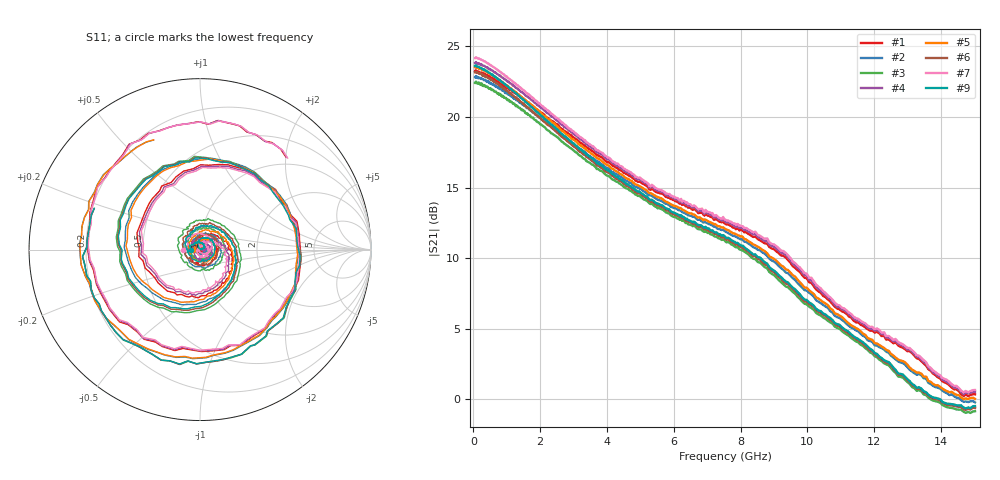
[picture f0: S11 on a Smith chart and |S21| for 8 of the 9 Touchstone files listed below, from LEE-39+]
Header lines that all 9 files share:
! Mini-Circuits
! S2P DATA File Format
! Type: MMIC Amplifier
! Model: LEE-39+
! 401 Frequency points
! S Parameters are in dB deg format
# MHz S DB R 50
!  FREQ  dB(S11)  PHS(S11)  dB(S21)  PHS(S21)  dB(S12)  PHS(S12)  dB(S22)  PHS(S22)
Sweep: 50 MHz to 15.02 GHz
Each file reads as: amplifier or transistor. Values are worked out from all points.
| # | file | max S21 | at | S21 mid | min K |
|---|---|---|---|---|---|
| 1 | LEE-39+___28mA___Minus45degC.S2P | 23.3 dB | 80 MHz | 16.0 dB at 4.57 GHz | 1.03 |
| 2 | LEE-39+___28mA___Plus25degC.S2P | 22.9 dB | 80 MHz | 15.5 dB at 4.57 GHz | 1.03 |
| 3 | LEE-39+___28mA___Plus85degC.S2P | 22.5 dB | 80 MHz | 14.9 dB at 4.57 GHz | 1.03 |
| 4 | LEE-39+___35mA___Minus45degC.S2P | 23.9 dB | 80 MHz | 16.1 dB at 4.57 GHz | 1.02 |
| 5 | LEE-39+___35mA___Plus25degC.S2P | 23.5 dB | 80 MHz | 15.7 dB at 4.57 GHz | 1.02 |
| 6 | LEE-39+___35mA___Plus85degC.S2P | 23.2 dB | 65 MHz | 15.1 dB at 4.57 GHz | 1.03 |
| 7 | LEE-39+___42mA___Minus45degC.S2P | 24.2 dB | 80 MHz | 16.2 dB at 4.57 GHz | 1.02 |
| 8 | LEE-39+___42mA___Plus25degC.S2P | 24.0 dB | 80 MHz | 15.8 dB at 4.57 GHz | 1.02 |
| 9 | LEE-39+___42mA___Plus85degC.S2P | 23.6 dB | 80 MHz | 15.3 dB at 4.57 GHz | 1.02 |
